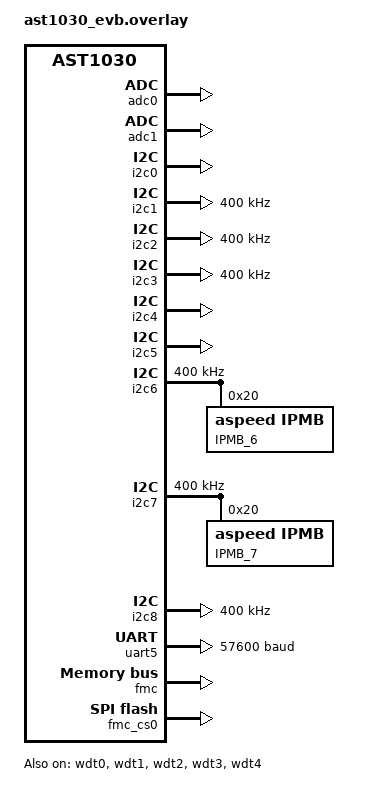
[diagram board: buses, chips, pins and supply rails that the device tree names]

&adc0 {
	status = "okay";
	pinctrl-0 = <
		&pinctrl_adc0_default
		&pinctrl_adc1_default
		&pinctrl_adc2_default
		&pinctrl_adc3_default
		&pinctrl_adc4_default
		&pinctrl_adc5_default
		&pinctrl_adc6_default
		&pinctrl_adc7_default>;
};

&adc1 {
	status = "okay";
	pinctrl-0 = <
		&pinctrl_adc0_default
		&pinctrl_adc3_default
		&pinctrl_adc6_default>;
};

&i2c0 {
	pinctrl-0 = <&pinctrl_i2c0_default>;
	status = "okay";
};

&i2c1 {
	pinctrl-0 = <&pinctrl_i2c1_default>;
	status = "okay";
	clock-frequency = <I2C_BITRATE_FAST>;
};

&i2c2 {
	pinctrl-0 = <&pinctrl_i2c2_default>;
	status = "okay";
	clock-frequency = <I2C_BITRATE_FAST>;
	
};

&i2c3 {
	pinctrl-0 = <&pinctrl_i2c3_default>;
	status = "okay";
	clock-frequency = <I2C_BITRATE_FAST>;
};

&i2c4 {
	pinctrl-0 = <&pinctrl_i2c4_default>;
	status = "okay";
};

&i2c5 {
	pinctrl-0 = <&pinctrl_i2c5_default>;
	status = "okay";
};

&i2c6 {
	pinctrl-0 = <&pinctrl_i2c6_default>;
	status = "okay";
	clock-frequency = <I2C_BITRATE_FAST>;

	ipmb6: ipmb@20 {
		compatible = "aspeed,ipmb";
		reg = <0x20>;
		label = "IPMB_6";
		size = <10>;
#ifdef CONFIG_I2C_IPMB_SLAVE
		status = "okay";
#endif
	};
};

&i2c7 {
	pinctrl-0 = <&pinctrl_i2c7_default>;
	status = "okay";
	clock-frequency = <I2C_BITRATE_FAST>;

	ipmb7: ipmb@20 {
		compatible = "aspeed,ipmb";
		reg = <0x20>;
		label = "IPMB_7";
		size = <10>;
#ifdef CONFIG_I2C_IPMB_SLAVE
		status = "okay";
#endif
	};
};

&i2c8 {
	pinctrl-0 = <&pinctrl_i2c8_default>;
	status = "okay";
	clock-frequency = <I2C_BITRATE_FAST>;
};

&uart5 {
	current-speed = <57600>;
};

&fmc {
	status = "okay";
};

&gpio0_q_t {
	aspeed,persist-maps = <0x00000004>;
};

&fmc_cs0 {
	status = "okay";
	spi-max-buswidth = <4>;
	spi-max-frequency = <50000000>;

	partitions {
		compatible = "fixed-partitions";
		#address-cells = <1>;
		#size-cells = <1>;
		boot_partition: partition@0 {
			label = "image-0";
			reg = <0x0 0x100000>;
		};
		dfu_partition: partition@1 {
			label = "image-1";
			reg = <0x0 0x100000>;
		};
	};
};

&fmc_cs1 {
	status = "disabled";
	spi-max-buswidth = <4>;
	spi-max-frequency = <50000000>;
};

&wdt0 {
	status = "okay";
};

&wdt1 {
	status = "okay";
};

&wdt2 {
	status = "okay";
};

&wdt3 {
	status = "okay";
};

&wdt4 {
	status = "okay";
};


&sram0 {
	reg = <0 DT_SIZE_K(576)>, <0x90000 DT_SIZE_K(192)>;
};

